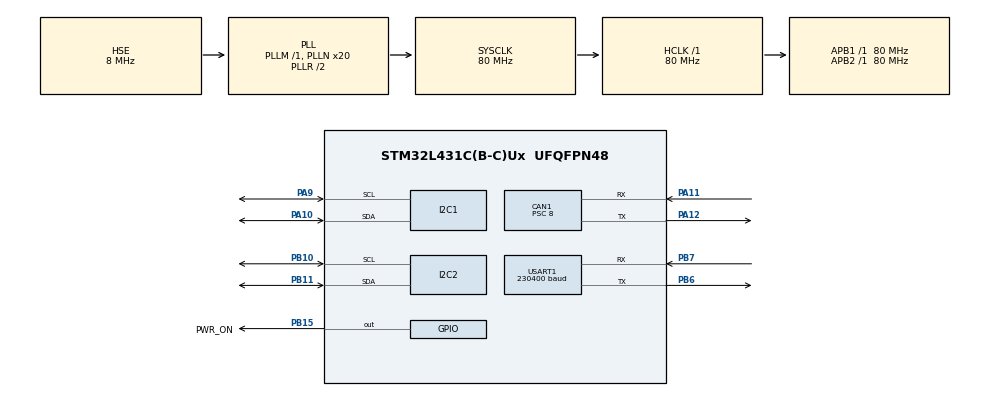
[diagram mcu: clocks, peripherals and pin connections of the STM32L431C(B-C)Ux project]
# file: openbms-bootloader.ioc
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ADC1.Channel-3\#ChannelRegularConversion=ADC_CHANNEL_VREFINT
ADC1.Channel-4\#ChannelRegularConversion=ADC_CHANNEL_VREFINT
ADC1.Channel-5\#ChannelRegularConversion=ADC_CHANNEL_VREFINT
ADC1.ClockPrescaler=ADC_CLOCK_ASYNC_DIV32
ADC1.ContinuousConvMode=ENABLE
ADC1.DMAContinuousRequests=DISABLE
ADC1.EOCSelection=ADC_EOC_SINGLE_CONV
ADC1.EnableRegularConversion=ENABLE
ADC1.NbrOfConversion=3
ADC1.NbrOfConversionFlag=1
ADC1.OffsetNumber-3\#ChannelRegularConversion=ADC_OFFSET_NONE
ADC1.OffsetNumber-4\#ChannelRegularConversion=ADC_OFFSET_NONE
ADC1.OffsetNumber-5\#ChannelRegularConversion=ADC_OFFSET_NONE
ADC1.OversamplingMode=ENABLE
ADC1.Rank-3\#ChannelRegularConversion=1
ADC1.Rank-4\#ChannelRegularConversion=2
ADC1.Rank-5\#ChannelRegularConversion=3
ADC1.Ratio=ADC_OVERSAMPLING_RATIO_256
ADC1.RightBitShift=ADC_RIGHTBITSHIFT_8
ADC1.SamplingTime-3\#ChannelRegularConversion=ADC_SAMPLETIME_640CYCLES_5
ADC1.SamplingTime-4\#ChannelRegularConversion=ADC_SAMPLETIME_640CYCLES_5
ADC1.SamplingTime-5\#ChannelRegularConversion=ADC_SAMPLETIME_640CYCLES_5
ADC1.master=1
CAN1.ABOM=ENABLE
CAN1.BS1=CAN_BS1_7TQ
CAN1.BS2=CAN_BS2_2TQ
CAN1.CalculateBaudRate=1000000
CAN1.CalculateTimeBit=1000
CAN1.CalculateTimeQuantum=100.0
CAN1.NART=ENABLE
CAN1.Prescaler=8
I2C1.Timing=0x10D19CE4
I2C2.SMBusOwnAddress=0x0B
I2C2.SMBusPacketErrorCheckMode=SMBUS_PEC_ENABLE
I2C2.TEXTEN=SMBUS_TEXTEN_ENABLED
I2C2.TIDLE=SMBUS_TIDLE_ENABLED
I2C2.TIMEOUTA_idle=0xC350
I2C2.TIMEOUTB_Slave=25000000 
I2C2.Timeout=0x83D093E7
I2C2.Timing=0x10D19CE4
Mcu.Family=STM32L4
Mcu.Name=STM32L431C(B-C)Ux
Mcu.Package=UFQFPN48
NVIC.ADC1_IRQn=true\:6\:0\:true\:false\:true\:true\:true\:true
NVIC.CAN1_RX0_IRQn=true\:3\:0\:true\:false\:true\:true\:true\:true
NVIC.CAN1_SCE_IRQn=true\:4\:0\:true\:false\:true\:true\:true\:true
NVIC.CAN1_TX_IRQn=true\:3\:0\:true\:false\:true\:true\:true\:true
NVIC.I2C2_ER_IRQn=true\:2\:0\:true\:false\:true\:true\:true\:true
NVIC.I2C2_EV_IRQn=true\:1\:0\:true\:false\:true\:true\:true\:true
NVIC.PriorityGroup=NVIC_PRIORITYGROUP_4
NVIC.USART1_IRQn=true\:5\:0\:true\:false\:true\:true\:true\:true
PA10.Mode=I2C
PA10.Signal=I2C1_SDA
PA11.Mode=CAN_Activate
PA11.Signal=CAN1_RX
PA12.Mode=CAN_Activate
PA12.Signal=CAN1_TX
PA9.Mode=I2C
PA9.Signal=I2C1_SCL
PB10.Mode=SMBus-two-wire-Interface
PB10.Signal=I2C2_SCL
PB11.Mode=SMBus-two-wire-Interface
PB11.Signal=I2C2_SDA
PB15.GPIO_Label=PWR_ON
PB15.PinState=GPIO_PIN_SET
PB15.Signal=GPIO_Output
PB6.Mode=Asynchronous
PB6.Signal=USART1_TX
PB7.Mode=Asynchronous
PB7.Signal=USART1_RX
PH0-OSC_IN\ (PH0).Mode=HSE-External-Oscillator
PH0-OSC_IN\ (PH0).Signal=RCC_OSC_IN
PH1-OSC_OUT\ (PH1).Mode=HSE-External-Oscillator
PH1-OSC_OUT\ (PH1).Signal=RCC_OSC_OUT
ProjectManager.HeapSize=0x200
ProjectManager.StackSize=0x400
ProjectManager.TargetToolchain=CMake
RCC.ADCFreq_Value=32000000
RCC.AHBFreq_Value=80000000
RCC.APB1Freq_Value=80000000
RCC.APB1TimFreq_Value=80000000
RCC.APB2Freq_Value=80000000
RCC.APB2TimFreq_Value=80000000
RCC.CortexFreq_Value=80000000
RCC.HCLKFreq_Value=80000000
RCC.HSE_VALUE=8000000
RCC.HSI48_VALUE=48000000
RCC.HSI_VALUE=16000000
RCC.LSE_VALUE=32768
RCC.MSI_VALUE=4000000
RCC.PLLN=20
RCC.PLLSourceVirtual=RCC_PLLSOURCE_HSE
RCC.SYSCLKFreq_VALUE=80000000
RCC.SYSCLKSource=RCC_SYSCLKSOURCE_PLLCLK
RCC.VCOOutputFreq_Value=160000000
USART1.BaudRate=230400
USART1.VirtualMode-Asynchronous=VM_ASYNC
VP_ADC1_Vref_Input.Mode=IN-Vrefint
VP_CRC_VS_CRC.Mode=CRC_Activate
board=custom

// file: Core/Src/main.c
/* USER CODE BEGIN Header */
/**
  ******************************************************************************
  * @file           : main.c
  * @brief          : Main program body
  ******************************************************************************
  * @attention
  *
  * Copyright (c) 2026 STMicroelectronics.
  * All rights reserved.
  *
  * This software is licensed under terms that can be found in the LICENSE file
  * in the root directory of this software component.
  * If no LICENSE file comes with this software, it is provided AS-IS.
  *
  ******************************************************************************
  */
/* USER CODE END Header */
#include "main.h"

/* USER CODE BEGIN Includes */
#include <stdint.h>
#include <string.h>
#include <stdlib.h>
#include <stdio.h>
/* USER CODE END Includes */

/* USER CODE BEGIN PD */
#define UART_BUF_SIZE           256U

#define APP_FLASH_START_PAGE    20U
#define APP_FLASH_END_PAGE      127U
#define APP_FLASH_NUM_PAGES     (APP_FLASH_END_PAGE - APP_FLASH_START_PAGE + 1U)
#define APP_FLASH_START_ADDRESS 0x0800A000U
#define APP_FLAG_ADDRESS        0x08009800U

#define APP_FLAG_MAGIC          0x12345678U
#define APP_FLAG_MAGIC_PAGE     19U

#define IHEX_RECORD_DATA        0x00U
#define IHEX_RECORD_EOF         0x01U
#define IHEX_RECORD_EXT_SEG     0x02U
#define IHEX_RECORD_START_SEG   0x03U
#define IHEX_RECORD_EXT_ADDR    0x04U
#define IHEX_RECORD_START_ADDR  0x05U

#define OK                            0U
#define ERROR_ERRASE_FAIL             1U
#define ERROR_IHEX_ERR_CHECKSUM       3U
#define ERROR_IHEX_ERR_FORMAT         4U
#define ERROR_IHEX_ERR_FLASH          5U
#define ERROR_SET_FLAG_FAIL           6U
#define ERROR_CRC_CHECKSUM            7U
/* USER CODE END PD */

ADC_HandleTypeDef hadc1;

CAN_HandleTypeDef hcan1;

CRC_HandleTypeDef hcrc;

I2C_HandleTypeDef hi2c1;
SMBUS_HandleTypeDef hsmbus2;

UART_HandleTypeDef huart1;

/* USER CODE BEGIN PV */
static uint8_t  uart_rx_byte                = 0;
static char     uart_rx_buf[UART_BUF_SIZE]  = {0};
static uint8_t  uart_rx_idx                 = 0;
static uint8_t  process_cmd                 = 0;
static uint32_t flash_ext_address           = 0;
/* USER CODE END PV */

void SystemClock_Config(void);
static void MX_GPIO_Init(void);
static void MX_ADC1_Init(void);
static void MX_CAN1_Init(void);
static void MX_I2C1_Init(void);
static void MX_I2C2_SMBUS_Init(void);
static void MX_USART1_UART_Init(void);
static void MX_CRC_Init(void);
/* USER CODE BEGIN PFP */

static void               Bootloader_Start(void);

static void               UART_PrintU8(uint8_t value);
static void               UART_ProcessLine(char *line);

static HAL_StatusTypeDef  Flash_Write(uint32_t address, uint8_t *data, uint32_t length);
static uint8_t            IHEX_HexToByte(const char *hex);

static uint8_t            CMD_Erase(void);
static uint8_t            CMD_Program(const char *line);
static uint8_t            CMD_CalculateCRC(uint32_t num_bytes, uint32_t expected_crc);
static uint8_t            CMD_SetAppFlag(void);
static void               CMD_Reset(void);
static void               CheckFlagAndJumpToApp(void);

/* USER CODE END PFP */

/* USER CODE BEGIN 0 */
static void Bootloader_Start(void)
{
    HAL_UART_Receive_IT(&huart1, &uart_rx_byte, 1);
}
static void UART_PrintU8(uint8_t value)
{
    char buf[5];
    snprintf(buf, sizeof(buf), "%u\n", value);
    HAL_UART_Transmit(&huart1, (uint8_t *)buf, strlen(buf), 100);
}
static void UART_ProcessLine(char *line)
{
    uint8_t  status;

    if(strcmp(line, "B") == 0)
    {
        // Ping command
        status = 0;
    }
    else if(strcmp(line, "E") == 0)
    {
        // Erase command
        status = CMD_Erase();
    }
    else if(line[0] == 'P' && line[1] == ',')
    {
        // Program command — P,<hex_line>
        status = CMD_Program(&line[2]);
    }
   else if(line[0] == 'C' && line[1] == ',')
   {
      char     *token;
      uint32_t  num_bytes    = 0;
      uint32_t  expected_crc = 0;

      token        = strtok(&line[2], ",");
      num_bytes    = (uint32_t)atoi(token);

      token        = strtok(NULL, ",");
      expected_crc = (uint32_t)strtoul(token, NULL, 10);

      status = CMD_CalculateCRC(num_bytes, expected_crc);
    }
    else if(strcmp(line, "A") == 0)
    {
        // Set Application Flag command
        status = CMD_SetAppFlag();
    }
    else if(strcmp(line, "R") == 0)
    {
        // Reset command
        CMD_Reset();
    }
    else
    {
        status = 255;
    }

    UART_PrintU8(status);
}
void HAL_UART_RxCpltCallback(UART_HandleTypeDef *huart)
{
    if(huart->Instance == USART1)
    {
        if(uart_rx_byte == '\n' || uart_rx_byte == '\r')
        {
            // Null terminate and process
            uart_rx_buf[uart_rx_idx] = '\0';

            if(uart_rx_idx > 0)
            {
              process_cmd = 1;
            }

            // Reset buffer
            uart_rx_idx = 0;
        }
        else
        {
            // Add byte to buffer — guard against overflow
            if(uart_rx_idx < UART_BUF_SIZE - 1)
            {
                uart_rx_buf[uart_rx_idx++] = (char)uart_rx_byte;
            }
            else
            {
                // Buffer overflow — reset
                uart_rx_idx = 0;
            }
        }

        // Re-arm interrupt
        HAL_UART_Receive_IT(&huart1, &uart_rx_byte, 1);
    }
}
static uint8_t CMD_Erase(void)
{
    HAL_StatusTypeDef      status;
    FLASH_EraseInitTypeDef erase_init;
    uint32_t               page_error = 0;

    status = HAL_FLASH_Unlock();
    if(status != HAL_OK)
    {
        return ERROR_ERRASE_FAIL;
    }

    erase_init.TypeErase   = FLASH_TYPEERASE_PAGES;
    erase_init.Banks       = FLASH_BANK_1;
    erase_init.Page        = APP_FLASH_START_PAGE;
    erase_init.NbPages     = APP_FLASH_NUM_PAGES;

    status = HAL_FLASHEx_Erase(&erase_init, &page_error);

    HAL_FLASH_Lock();

    if(status != HAL_OK)
    {
        return ERROR_ERRASE_FAIL;
    }

    return OK;
}
static HAL_StatusTypeDef Flash_Write(uint32_t address, uint8_t *data, uint32_t length)
{
    HAL_StatusTypeDef status;
    uint64_t          double_word;

    // Address must be 8-byte aligned
    if(address % 8 != 0)
    {
        return HAL_ERROR;
    }

    // Length must be multiple of 8
    if(length % 8 != 0)
    {
        return HAL_ERROR;
    }

    status = HAL_FLASH_Unlock();
    if(status != HAL_OK)
    {
        return status;
    }

    for(uint32_t i = 0; i < length; i += 8)
    {
        double_word = (uint64_t)data[i]
                    | ((uint64_t)data[i+1] << 8)
                    | ((uint64_t)data[i+2] << 16)
                    | ((uint64_t)data[i+3] << 24)
                    | ((uint64_t)data[i+4] << 32)
                    | ((uint64_t)data[i+5] << 40)
                    | ((uint64_t)data[i+6] << 48)
                    | ((uint64_t)data[i+7] << 56);

        status = HAL_FLASH_Program(FLASH_TYPEPROGRAM_DOUBLEWORD,
                                   address + i,
                                   double_word);

        if(status != HAL_OK)
        {
            HAL_FLASH_Lock();
            return status;
        }
    }

    HAL_FLASH_Lock();
    return HAL_OK;
}
static uint8_t IHEX_HexToByte(const char *hex)
{
    unsigned int result = 0;
    sscanf(hex, "%2x", &result);
    return (uint8_t)result;
}
static uint8_t CMD_Program(const char *line)
{
    uint8_t  byte_count;
    uint16_t address;
    uint8_t  record_type;
    uint8_t  data[32];
    uint8_t  checksum;
    uint8_t  calc_checksum = 0;
    uint32_t flash_address;

    // Check start code
    if(line[0] != ':')
    {
        return ERROR_IHEX_ERR_FORMAT;
    }

    // Parse fields
    byte_count  = IHEX_HexToByte(&line[1]);
    address     = ((uint16_t)IHEX_HexToByte(&line[3]) << 8) | IHEX_HexToByte(&line[5]);
    record_type = IHEX_HexToByte(&line[7]);

    // Parse data bytes
    for(uint8_t i = 0; i < byte_count; i++)
    {
        data[i] = IHEX_HexToByte(&line[9 + i * 2]);
    }

    // Parse checksum
    checksum = IHEX_HexToByte(&line[9 + byte_count * 2]);

    // Verify checksum
    calc_checksum += byte_count;
    calc_checksum += (address >> 8) & 0xFF;
    calc_checksum += address & 0xFF;
    calc_checksum += record_type;
    for(uint8_t i = 0; i < byte_count; i++)
    {
        calc_checksum += data[i];
    }
    calc_checksum += checksum;

    if(calc_checksum != 0x00)
    {
        return ERROR_IHEX_ERR_CHECKSUM;
    }

    // Process record type
    switch(record_type)
    {
        case IHEX_RECORD_DATA:
        {
            flash_address = (flash_ext_address << 16) | address;

            uint8_t  write_buf[8];
            uint32_t i = 0;

            while(i < byte_count)
            {
                uint8_t chunk = ((byte_count - i) >= 8) ? 8 : (byte_count - i);

                memset(write_buf, 0xFF, 8);
                memcpy(write_buf, &data[i], chunk);

                if(Flash_Write(flash_address + i, write_buf, 8) != HAL_OK)
                {
                    return ERROR_IHEX_ERR_FLASH;
                }

                i += chunk;
            }
            break;
        }

        case IHEX_RECORD_EXT_ADDR:
        {
            flash_ext_address = ((uint32_t)data[0] << 8) | data[1];
            break;
        }

        case IHEX_RECORD_EOF:
        {
            break;
        }

        default:
            break;
    }

    return OK;
}
static uint8_t CMD_CalculateCRC(uint32_t num_bytes, uint32_t expected_crc)
{
    uint32_t app_start = APP_FLASH_START_ADDRESS;
    uint32_t calculated_crc;

    calculated_crc = HAL_CRC_Calculate(&hcrc, (uint32_t *)app_start, num_bytes);

    if(calculated_crc != expected_crc)
    {
        return ERROR_CRC_CHECKSUM;
    }

    return OK;
}
static uint8_t CMD_SetAppFlag(void)
{
    HAL_StatusTypeDef      status;
    FLASH_EraseInitTypeDef erase_init;
    uint32_t               page_error  = 0;
    uint64_t               double_word = (uint64_t)APP_FLAG_MAGIC | ((uint64_t)APP_FLAG_MAGIC << 32);

    // Unlock flash
    status = HAL_FLASH_Unlock();
    if(status != HAL_OK)
    {
        return ERROR_SET_FLAG_FAIL;
    }

    // Erase page 19 first
    erase_init.TypeErase = FLASH_TYPEERASE_PAGES;
    erase_init.Banks     = FLASH_BANK_1;
    erase_init.Page      = APP_FLAG_MAGIC_PAGE;
    erase_init.NbPages   = 1U;

    status = HAL_FLASHEx_Erase(&erase_init, &page_error);
    if(status != HAL_OK)
    {
        HAL_FLASH_Lock();
        return ERROR_SET_FLAG_FAIL;
    }

    // Write magic number
    status = HAL_FLASH_Program(FLASH_TYPEPROGRAM_DOUBLEWORD,
                               APP_FLAG_ADDRESS,
                               double_word);

    HAL_FLASH_Lock();

    if(status != HAL_OK)
    {
        return ERROR_SET_FLAG_FAIL;
    }

    return OK;
}
static void    CheckFlagAndJumpToApp(void)
{
    uint32_t app_flag      = *(uint32_t *)APP_FLAG_ADDRESS;
    uint32_t stack_pointer = *(uint32_t *)APP_FLASH_START_ADDRESS;
    uint32_t reset_handler = *(uint32_t *)(APP_FLASH_START_ADDRESS + 4);

    // Check magic flag
    if(app_flag != APP_FLAG_MAGIC)
    {
        return;
    }

    // Check valid stack pointer — must be in RAM range
    if(stack_pointer < 0x20000000U || stack_pointer > 0x20010000U)
    {
        return;
    }

    // Check valid reset handler — must be in app flash range
    if(reset_handler < APP_FLASH_START_ADDRESS || reset_handler > 0x0803FFFFU)
    {
        return;
    }

    // Disable all interrupts
    __disable_irq();

    // Deinit HAL peripherals before jump
    HAL_UART_DeInit(&huart1);
    HAL_RCC_DeInit();
    HAL_DeInit();

    // Set vector table
    SCB->VTOR = APP_FLASH_START_ADDRESS;

    // Jump to application
    __set_MSP(stack_pointer);

    void (*app_reset_handler)(void) = (void (*)(void))reset_handler;
    app_reset_handler();
}
static void CMD_Reset(void)
{
    NVIC_SystemReset();
}
/* USER CODE END 0 */

int main(void)
{

  /* MCU Configuration--------------------------------------------------------*/

  /* Reset of all peripherals, Initializes the Flash interface and the Systick. */
  HAL_Init();

  /* Configure the system clock */
  SystemClock_Config();

  /* Initialize all configured peripherals */
  MX_GPIO_Init();
  MX_ADC1_Init();
  MX_CAN1_Init();
  MX_I2C1_Init();
  MX_I2C2_SMBUS_Init();
  MX_USART1_UART_Init();
  MX_CRC_Init();
  /* USER CODE BEGIN 2 */
  CheckFlagAndJumpToApp();
  Bootloader_Start();
  /* USER CODE END 2 */

  /* Infinite loop */
  /* USER CODE BEGIN WHILE */
  while (1)
  {
    if(process_cmd)
    {
        UART_ProcessLine(uart_rx_buf);
        process_cmd = 0;
    }
    /* USER CODE END WHILE */
  }
}

void SystemClock_Config(void)
{
  RCC_OscInitTypeDef RCC_OscInitStruct = {0};
  RCC_ClkInitTypeDef RCC_ClkInitStruct = {0};

  /** Configure the main internal regulator output voltage
  */
  if (HAL_PWREx_ControlVoltageScaling(PWR_REGULATOR_VOLTAGE_SCALE1) != HAL_OK)
  {
    Error_Handler();
  }

  /** Initializes the RCC Oscillators according to the specified parameters
  * in the RCC_OscInitTypeDef structure.
  */
  RCC_OscInitStruct.OscillatorType = RCC_OSCILLATORTYPE_HSE;
  RCC_OscInitStruct.HSEState = RCC_HSE_ON;
  RCC_OscInitStruct.PLL.PLLState = RCC_PLL_ON;
  RCC_OscInitStruct.PLL.PLLSource = RCC_PLLSOURCE_HSE;
  RCC_OscInitStruct.PLL.PLLM = 1;
  RCC_OscInitStruct.PLL.PLLN = 20;
  RCC_OscInitStruct.PLL.PLLP = RCC_PLLP_DIV7;
  RCC_OscInitStruct.PLL.PLLQ = RCC_PLLQ_DIV2;
  RCC_OscInitStruct.PLL.PLLR = RCC_PLLR_DIV2;
  if (HAL_RCC_OscConfig(&RCC_OscInitStruct) != HAL_OK)
  {
    Error_Handler();
  }

  /** Initializes the CPU, AHB and APB buses clocks
  */
  RCC_ClkInitStruct.ClockType = RCC_CLOCKTYPE_HCLK|RCC_CLOCKTYPE_SYSCLK
                              |RCC_CLOCKTYPE_PCLK1|RCC_CLOCKTYPE_PCLK2;
  RCC_ClkInitStruct.SYSCLKSource = RCC_SYSCLKSOURCE_PLLCLK;
  RCC_ClkInitStruct.AHBCLKDivider = RCC_SYSCLK_DIV1;
  RCC_ClkInitStruct.APB1CLKDivider = RCC_HCLK_DIV1;
  RCC_ClkInitStruct.APB2CLKDivider = RCC_HCLK_DIV1;

  if (HAL_RCC_ClockConfig(&RCC_ClkInitStruct, FLASH_LATENCY_4) != HAL_OK)
  {
    Error_Handler();
  }
}

static void MX_ADC1_Init(void)
{

  ADC_ChannelConfTypeDef sConfig = {0};

  /** Common config
  */
  hadc1.Instance = ADC1;
  hadc1.Init.ClockPrescaler = ADC_CLOCK_ASYNC_DIV32;
  hadc1.Init.Resolution = ADC_RESOLUTION_12B;
  hadc1.Init.DataAlign = ADC_DATAALIGN_RIGHT;
  hadc1.Init.ScanConvMode = ADC_SCAN_ENABLE;
  hadc1.Init.EOCSelection = ADC_EOC_SINGLE_CONV;
  hadc1.Init.LowPowerAutoWait = DISABLE;
  hadc1.Init.ContinuousConvMode = ENABLE;
  hadc1.Init.NbrOfConversion = 3;
  hadc1.Init.DiscontinuousConvMode = DISABLE;
  hadc1.Init.ExternalTrigConv = ADC_SOFTWARE_START;
  hadc1.Init.ExternalTrigConvEdge = ADC_EXTERNALTRIGCONVEDGE_NONE;
  hadc1.Init.DMAContinuousRequests = DISABLE;
  hadc1.Init.Overrun = ADC_OVR_DATA_PRESERVED;
  hadc1.Init.OversamplingMode = ENABLE;
  hadc1.Init.Oversampling.Ratio = ADC_OVERSAMPLING_RATIO_256;
  hadc1.Init.Oversampling.RightBitShift = ADC_RIGHTBITSHIFT_8;
  hadc1.Init.Oversampling.TriggeredMode = ADC_TRIGGEREDMODE_SINGLE_TRIGGER;
  hadc1.Init.Oversampling.OversamplingStopReset = ADC_REGOVERSAMPLING_CONTINUED_MODE;
  if (HAL_ADC_Init(&hadc1) != HAL_OK)
  {
    Error_Handler();
  }

  /** Configure Regular Channel
  */
  sConfig.Channel = ADC_CHANNEL_VREFINT;
  sConfig.Rank = ADC_REGULAR_RANK_1;
  sConfig.SamplingTime = ADC_SAMPLETIME_640CYCLES_5;
  sConfig.SingleDiff = ADC_SINGLE_ENDED;
  sConfig.OffsetNumber = ADC_OFFSET_NONE;
  sConfig.Offset = 0;
  if (HAL_ADC_ConfigChannel(&hadc1, &sConfig) != HAL_OK)
  {
    Error_Handler();
  }

  /** Configure Regular Channel
  */
  sConfig.Rank = ADC_REGULAR_RANK_2;
  if (HAL_ADC_ConfigChannel(&hadc1, &sConfig) != HAL_OK)
  {
    Error_Handler();
  }

  /** Configure Regular Channel
  */
  sConfig.Rank = ADC_REGULAR_RANK_3;
  if (HAL_ADC_ConfigChannel(&hadc1, &sConfig) != HAL_OK)
  {
    Error_Handler();
  }

}

static void MX_CAN1_Init(void)
{

  hcan1.Instance = CAN1;
  hcan1.Init.Prescaler = 8;
  hcan1.Init.Mode = CAN_MODE_NORMAL;
  hcan1.Init.SyncJumpWidth = CAN_SJW_1TQ;
  hcan1.Init.TimeSeg1 = CAN_BS1_7TQ;
  hcan1.Init.TimeSeg2 = CAN_BS2_2TQ;
  hcan1.Init.TimeTriggeredMode = DISABLE;
  hcan1.Init.AutoBusOff = ENABLE;
  hcan1.Init.AutoWakeUp = DISABLE;
  hcan1.Init.AutoRetransmission = ENABLE;
  hcan1.Init.ReceiveFifoLocked = DISABLE;
  hcan1.Init.TransmitFifoPriority = DISABLE;
  if (HAL_CAN_Init(&hcan1) != HAL_OK)
  {
    Error_Handler();
  }

}

static void MX_CRC_Init(void)
{

  hcrc.Instance = CRC;
  hcrc.Init.DefaultPolynomialUse = DEFAULT_POLYNOMIAL_ENABLE;
  hcrc.Init.DefaultInitValueUse = DEFAULT_INIT_VALUE_ENABLE;
  hcrc.Init.InputDataInversionMode = CRC_INPUTDATA_INVERSION_NONE;
  hcrc.Init.OutputDataInversionMode = CRC_OUTPUTDATA_INVERSION_DISABLE;
  hcrc.InputDataFormat = CRC_INPUTDATA_FORMAT_BYTES;
  if (HAL_CRC_Init(&hcrc) != HAL_OK)
  {
    Error_Handler();
  }

}

static void MX_I2C1_Init(void)
{

  hi2c1.Instance = I2C1;
  hi2c1.Init.Timing = 0x10D19CE4;
  hi2c1.Init.OwnAddress1 = 0;
  hi2c1.Init.AddressingMode = I2C_ADDRESSINGMODE_7BIT;
  hi2c1.Init.DualAddressMode = I2C_DUALADDRESS_DISABLE;
  hi2c1.Init.OwnAddress2 = 0;
  hi2c1.Init.OwnAddress2Masks = I2C_OA2_NOMASK;
  hi2c1.Init.GeneralCallMode = I2C_GENERALCALL_DISABLE;
  hi2c1.Init.NoStretchMode = I2C_NOSTRETCH_DISABLE;
  if (HAL_I2C_Init(&hi2c1) != HAL_OK)
  {
    Error_Handler();
  }

  /** Configure Analogue filter
  */
  if (HAL_I2CEx_ConfigAnalogFilter(&hi2c1, I2C_ANALOGFILTER_ENABLE) != HAL_OK)
  {
    Error_Handler();
  }

  /** Configure Digital filter
  */
  if (HAL_I2CEx_ConfigDigitalFilter(&hi2c1, 0) != HAL_OK)
  {
    Error_Handler();
  }

}

static void MX_I2C2_SMBUS_Init(void)
{

  hsmbus2.Instance = I2C2;
  hsmbus2.Init.Timing = 0x10D19CE4;
  hsmbus2.Init.AnalogFilter = SMBUS_ANALOGFILTER_ENABLE;
  hsmbus2.Init.OwnAddress1 = 22;
  hsmbus2.Init.AddressingMode = SMBUS_ADDRESSINGMODE_7BIT;
  hsmbus2.Init.DualAddressMode = SMBUS_DUALADDRESS_DISABLE;
  hsmbus2.Init.OwnAddress2 = 0;
  hsmbus2.Init.OwnAddress2Masks = SMBUS_OA2_NOMASK;
  hsmbus2.Init.GeneralCallMode = SMBUS_GENERALCALL_DISABLE;
  hsmbus2.Init.NoStretchMode = SMBUS_NOSTRETCH_DISABLE;
  hsmbus2.Init.PacketErrorCheckMode = SMBUS_PEC_ENABLE;
  hsmbus2.Init.PeripheralMode = SMBUS_PERIPHERAL_MODE_SMBUS_SLAVE;
  hsmbus2.Init.SMBusTimeout = 0x83D093E7;
  if (HAL_SMBUS_Init(&hsmbus2) != HAL_OK)
  {
    Error_Handler();
  }

}

static void MX_USART1_UART_Init(void)
{

  huart1.Instance = USART1;
  huart1.Init.BaudRate = 230400;
  huart1.Init.WordLength = UART_WORDLENGTH_8B;
  huart1.Init.StopBits = UART_STOPBITS_1;
  huart1.Init.Parity = UART_PARITY_NONE;
  huart1.Init.Mode = UART_MODE_TX_RX;
  huart1.Init.HwFlowCtl = UART_HWCONTROL_NONE;
  huart1.Init.OverSampling = UART_OVERSAMPLING_16;
  huart1.Init.OneBitSampling = UART_ONE_BIT_SAMPLE_DISABLE;
  huart1.AdvancedInit.AdvFeatureInit = UART_ADVFEATURE_NO_INIT;
  if (HAL_UART_Init(&huart1) != HAL_OK)
  {
    Error_Handler();
  }

}

static void MX_GPIO_Init(void)
{
  GPIO_InitTypeDef GPIO_InitStruct = {0};

  /* GPIO Ports Clock Enable */
  __HAL_RCC_GPIOH_CLK_ENABLE();
  __HAL_RCC_GPIOB_CLK_ENABLE();
  __HAL_RCC_GPIOA_CLK_ENABLE();

  /*Configure GPIO pin Output Level */
  HAL_GPIO_WritePin(PWR_ON_GPIO_Port, PWR_ON_Pin, GPIO_PIN_SET);

  /*Configure GPIO pin : PWR_ON_Pin */
  GPIO_InitStruct.Pin = PWR_ON_Pin;
  GPIO_InitStruct.Mode = GPIO_MODE_OUTPUT_PP;
  GPIO_InitStruct.Pull = GPIO_NOPULL;
  GPIO_InitStruct.Speed = GPIO_SPEED_FREQ_LOW;
  HAL_GPIO_Init(PWR_ON_GPIO_Port, &GPIO_InitStruct);

}

void Error_Handler(void)
{
  __disable_irq();
  while (1)
  {
  }
}
